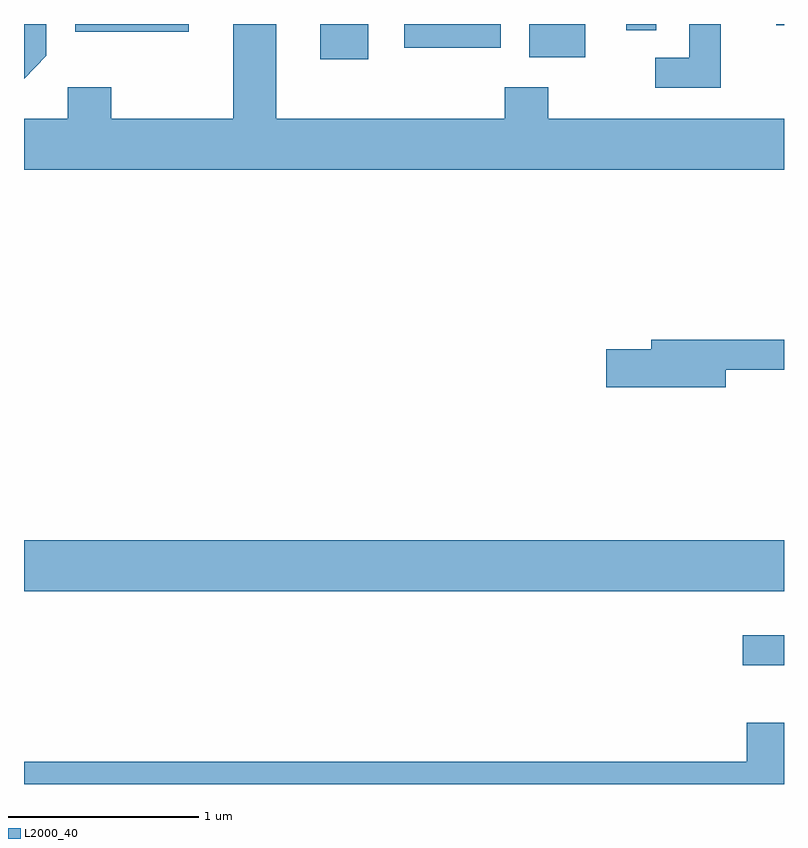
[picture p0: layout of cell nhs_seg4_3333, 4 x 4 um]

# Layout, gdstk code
import gdstk
lib = gdstk.Library(unit=1e-6, precision=1e-09)
def R(c, l, rs):  # rectangles x0, y0, x1, y1
    for r in rs: c.add(gdstk.rectangle(r[:2], r[2:], *l))
def P(c, l, *ps):  # polygons
    for p in ps: c.add(gdstk.Polygon(p, *l))
L2000_40 = (2000, 40)

nhs_seg4_3333 = lib.new_cell('nhs_seg4_3333')
R(nhs_seg4_3333, L2000_40, [(287.393,1256.606,287.611,1256.764), (283.611,1256.996,287.611,1257.264), (285.171,1259.796,285.424,1259.982), (286.271,1259.806,286.564,1259.982), (285.613,1259.856,286.119,1259.982), (283.881,1259.941,284.479,1259.982), (286.781,1259.948,286.939,1259.982), (287.571,1259.976,287.611,1259.982)])
P(nhs_seg4_3333, L2000_40, [(287.611,1259.484),(286.369,1259.484),(286.369,1259.649),(286.141,1259.649),(286.141,1259.484),(284.939,1259.484),(284.939,1259.982),(284.711,1259.982),(284.711,1259.484),(284.069,1259.484),(284.069,1259.649),(283.841,1259.649),(283.841,1259.484),(283.611,1259.484),(283.611,1259.216),(287.611,1259.216)],
  [(287.279,1259.982),(287.111,1259.982),(287.111,1259.804),(286.933,1259.804),(286.933,1259.646),(287.279,1259.646)],
  [(283.729,1259.814),(283.729,1259.982),(283.611,1259.982),(283.611,1259.695)],
  [(287.304,1258.161),(287.611,1258.161),(287.611,1258.319),(286.911,1258.319),(286.911,1258.269),(286.676,1258.269),(286.676,1258.071),(287.304,1258.071)],
  [(287.611,1256.304),(287.416,1256.304),(287.416,1256.099),(283.611,1256.099),(283.611,1255.982),(287.611,1255.982)])

lib.write_gds('nhs_seg4_3333.gds')
